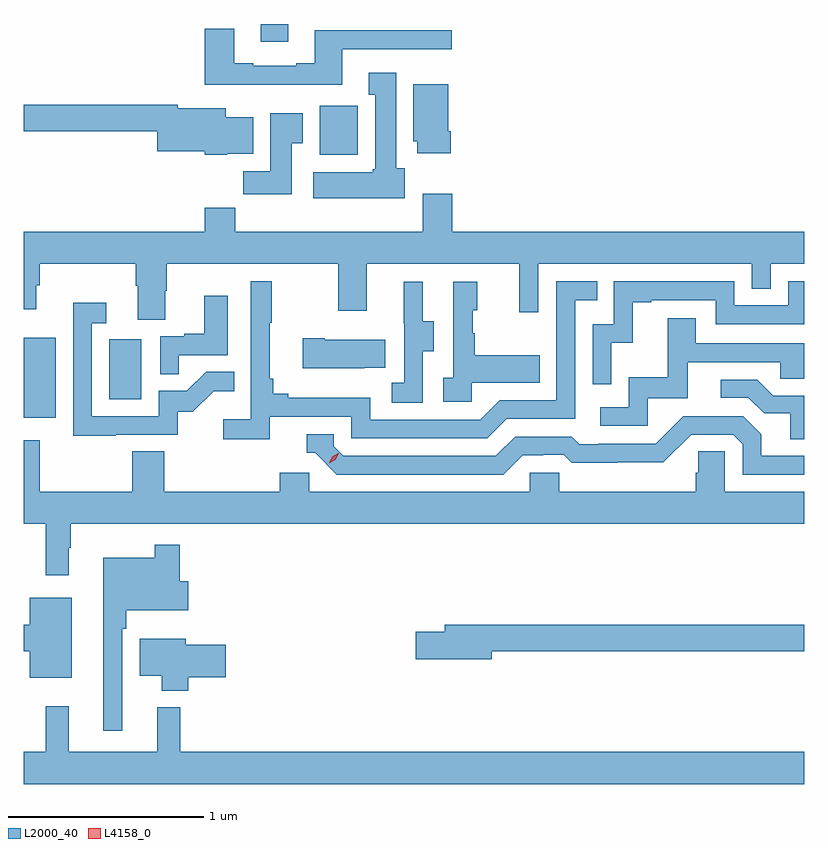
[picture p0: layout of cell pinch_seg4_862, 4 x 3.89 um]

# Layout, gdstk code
import gdstk
lib = gdstk.Library(unit=1e-6, precision=1e-09)
def R(c, l, rs):  # rectangles x0, y0, x1, y1
    for r in rs: c.add(gdstk.rectangle(r[:2], r[2:], *l))
def P(c, l, *ps):  # polygons
    for p in ps: c.add(gdstk.Polygon(p, *l))
L2000_40 = (2000, 40)
L4158_0 = (4158, 0)

pinch_seg4_862 = lib.new_cell('pinch_seg4_862')
R(pinch_seg4_862, L2000_40, [(843.979,794.699,844.144,795.109), (844.418,794.796,844.582,795.103), (845.495,796.046,845.691,796.297), (845.195,796.626,845.335,796.717)])
P(pinch_seg4_862, L2000_40, [(845.611,796.587),(846.172,796.587),(846.172,796.684),(845.471,796.684),(845.471,796.516),(845.375,796.516),(845.375,796.503),(845.155,796.503),(845.155,796.516),(845.059,796.516),(845.059,796.693),(844.907,796.693),(844.907,796.406),(845.611,796.406)],
  [(845.932,795.978),(845.887,795.978),(845.887,796.468),(845.747,796.468),(845.747,796.355),(845.78,796.355),(845.78,795.972),(845.767,795.972),(845.767,795.958),(845.463,795.958),(845.463,795.824),(845.932,795.824)],
  [(846.167,796.168),(846.154,796.168),(846.154,796.408),(845.975,796.408),(845.975,796.116),(845.996,796.116),(845.996,796.056),(846.167,796.056)],
  [(845.022,796.052),(845.155,796.052),(845.155,796.24),(845.014,796.24),(845.014,796.285),(844.768,796.285),(844.768,796.304),(843.979,796.304),(843.979,796.168),(844.664,796.168),(844.664,796.064),(844.908,796.064),(844.908,796.046),(845.022,796.046)],
  [(845.353,796.105),(845.41,796.105),(845.41,796.261),(845.243,796.261),(845.243,795.964),(845.104,795.964),(845.104,795.846),(845.353,795.846)],
  [(844.705,795.351),(844.713,795.351),(844.713,795.488),(845.59,795.488),(845.59,795.249),(845.737,795.249),(845.737,795.488),(846.518,795.488),(846.518,795.24),(846.615,795.24),(846.615,795.488),(847.71,795.488),(847.71,795.361),(847.806,795.361),(847.806,795.488),(847.979,795.488),(847.979,795.652),(846.176,795.652),(846.176,795.847),(846.023,795.847),(846.023,795.652),(845.063,795.652),(845.063,795.776),(844.907,795.776),(844.907,795.652),(843.979,795.652),(843.979,795.255),(844.043,795.255),(844.043,795.38),(844.061,795.38),(844.061,795.488),(844.553,795.488),(844.553,795.376),(844.565,795.376),(844.565,795.202),(844.705,795.202)],
  [(845.24,794.706),(845.658,794.706),(845.658,794.595),(846.355,794.595),(846.454,794.694),(846.804,794.694),(846.804,795.303),(846.917,795.303),(846.917,795.399),(846.708,795.399),(846.708,794.79),(846.417,794.79),(846.318,794.691),(845.754,794.691),(845.754,794.803),(845.335,794.803),(845.335,794.822),(845.258,794.822),(845.258,794.899),(845.239,794.899),(845.239,795.187),(845.251,795.187),(845.251,795.4),(845.142,795.4),(845.142,794.692),(845.001,794.692),(845.001,794.59),(845.24,794.59)],
  [(846.99,795.083),(847.1,795.083),(847.1,795.291),(847.195,795.291),(847.195,795.303),(847.524,795.303),(847.524,795.18),(847.979,795.18),(847.979,795.399),(847.896,795.399),(847.896,795.276),(847.62,795.276),(847.62,795.399),(847.002,795.399),(847.002,795.18),(846.894,795.18),(846.894,794.871),(846.99,794.871)],
  [(846.276,794.879),(846.623,794.879),(846.623,795.019),(846.289,795.019),(846.289,795.134),(846.279,795.134),(846.279,795.252),(846.304,795.252),(846.304,795.397),(846.18,795.397),(846.18,794.906),(846.129,794.906),(846.129,794.781),(846.276,794.781)],
  [(846.024,795.04),(846.079,795.04),(846.079,795.195),(846.025,795.195),(846.025,795.397),(845.927,795.397),(845.927,795.183),(845.928,795.183),(845.928,794.879),(845.865,794.879),(845.865,794.776),(846.024,794.776)],
  [(844.775,795.021),(845.026,795.021),(845.026,795.325),(844.904,795.325),(844.904,795.13),(844.801,795.13),(844.801,795.117),(844.68,795.117),(844.68,794.923),(844.775,794.923)],
  [(844.451,794.613),(844.77,794.613),(844.77,794.73),(844.846,794.73),(844.953,794.837),(845.057,794.837),(845.057,794.936),(844.914,794.936),(844.816,794.838),(844.671,794.838),(844.671,794.709),(844.329,794.709),(844.329,795.183),(844.402,795.183),(844.402,795.289),(844.233,795.289),(844.233,794.608),(844.451,794.608)],
  [(847.176,794.799),(847.381,794.799),(847.381,794.985),(847.855,794.985),(847.855,794.901),(847.979,794.901),(847.979,795.081),(847.423,795.081),(847.423,795.211),(847.279,795.211),(847.279,794.908),(847.08,794.908),(847.08,794.754),(846.933,794.754),(846.933,794.658),(847.176,794.658)],
  [(845.723,794.957),(845.831,794.957),(845.831,795.1),(845.521,795.1),(845.521,795.108),(845.409,795.108),(845.409,794.954),(845.723,794.954)],
  [(847.979,794.814),(847.819,794.814),(847.738,794.895),(847.551,794.895),(847.551,794.802),(847.692,794.802),(847.772,794.722),(847.907,794.722),(847.907,794.59),(847.979,794.59)],
  [(846.535,794.508),(846.642,794.508),(846.642,794.511),(846.745,794.511),(846.787,794.469),(847.02,794.469),(847.02,794.471),(847.256,794.471),(847.398,794.613),(847.614,794.613),(847.662,794.565),(847.662,794.409),(847.979,794.409),(847.979,794.505),(847.759,794.505),(847.759,794.615),(847.665,794.709),(847.359,794.709),(847.218,794.568),(846.925,794.568),(846.925,794.565),(846.826,794.565),(846.787,794.604),(846.498,794.604),(846.399,794.505),(845.616,794.505),(845.568,794.553),(845.568,794.616),(845.429,794.616),(845.429,794.52),(845.472,794.52),(845.583,794.409),(846.436,794.409)],
  [(844.21,794.033),(844.222,794.033),(844.222,794.156),(847.979,794.156),(847.979,794.32),(847.572,794.32),(847.572,794.528),(847.435,794.528),(847.435,794.418),(847.421,794.418),(847.421,794.32),(846.723,794.32),(846.723,794.418),(846.573,794.418),(846.573,794.32),(845.442,794.32),(845.442,794.418),(845.291,794.418),(845.291,794.32),(844.7,794.32),(844.7,794.528),(844.535,794.528),(844.535,794.32),(844.061,794.32),(844.061,794.584),(843.979,794.584),(843.979,794.156),(844.093,794.156),(844.093,793.893),(844.21,793.893)],
  [(844.485,793.619),(844.505,793.619),(844.505,793.715),(844.822,793.715),(844.822,793.863),(844.778,793.863),(844.778,794.05),(844.65,794.05),(844.65,793.984),(844.388,793.984),(844.388,793.098),(844.485,793.098)],
  [(844.225,793.777),(844.01,793.777),(844.01,793.64),(843.979,793.64),(843.979,793.504),(844.01,793.504),(844.01,793.367),(844.225,793.367)],
  [(846.376,793.504),(847.979,793.504),(847.979,793.64),(846.137,793.64),(846.137,793.604),(845.988,793.604),(845.988,793.462),(846.376,793.462)],
  [(844.823,793.372),(845.014,793.372),(845.014,793.537),(844.81,793.537),(844.81,793.567),(844.574,793.567),(844.574,793.379),(844.688,793.379),(844.688,793.301),(844.823,793.301)],
  [(847.979,792.988),(844.781,792.988),(844.781,793.216),(844.664,793.216),(844.664,792.988),(844.211,792.988),(844.211,793.222),(844.093,793.222),(844.093,792.988),(843.979,792.988),(843.979,792.824),(847.979,792.824)])
P(pinch_seg4_862, L4158_0, [(845.545,794.467),(845.545,794.467),(845.561,794.5),(845.592,794.519),(845.593,794.519),(845.593,794.518),(845.576,794.486),(845.545,794.467)])

lib.write_gds('pinch_seg4_862.gds')
